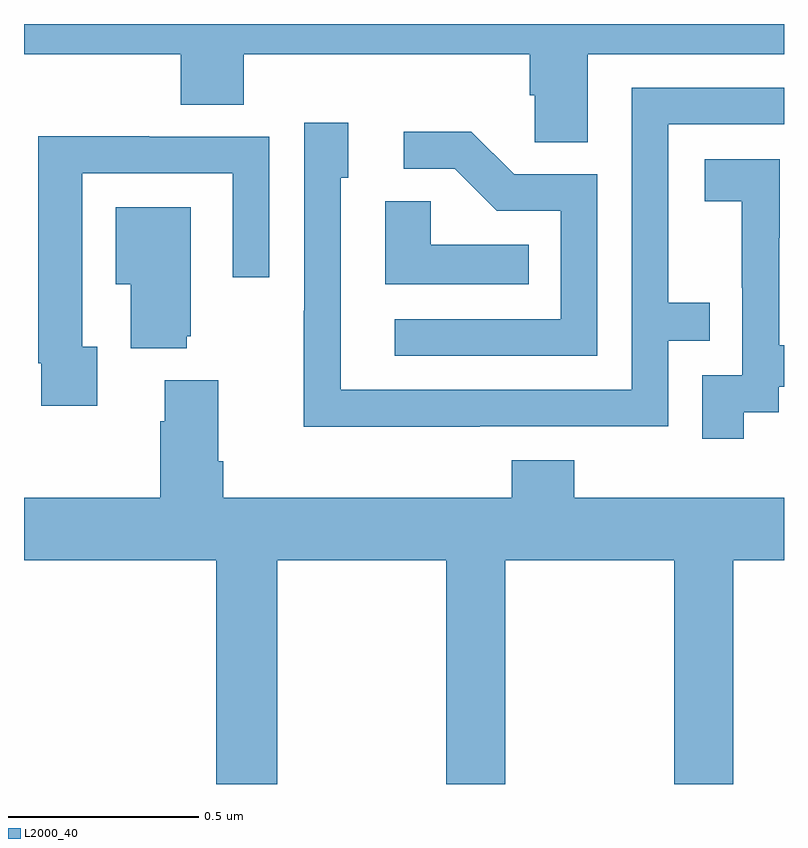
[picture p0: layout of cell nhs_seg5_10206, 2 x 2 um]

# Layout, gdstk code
import gdstk
lib = gdstk.Library(unit=1e-6, precision=1e-09)
def P(c, l, *ps):  # polygons
    for p in ps: c.add(gdstk.Polygon(p, *l))
L2000_40 = (2000, 40)

nhs_seg5_10206 = lib.new_cell('nhs_seg5_10206')
P(nhs_seg5_10206, L2000_40, [(244.483,896.72),(245,896.72),(245,896.799),(243,896.799),(243,896.72),(243.413,896.72),(243.413,896.587),(243.578,896.587),(243.578,896.72),(244.331,896.72),(244.331,896.611),(244.344,896.611),(244.344,896.488),(244.483,896.488)],
  [(244.199,895.74),(244.695,895.74),(244.695,895.965),(244.805,895.965),(244.805,896.066),(244.695,896.066),(244.695,896.535),(245,896.535),(245,896.631),(244.599,896.631),(244.599,895.836),(243.834,895.836),(243.834,896.394),(243.853,896.394),(243.853,896.539),(243.738,896.539),(243.738,896.045),(243.736,896.045),(243.736,895.739),(244.199,895.739)],
  [(244.509,896.403),(244.29,896.403),(244.177,896.516),(243.999,896.516),(243.999,896.418),(244.133,896.418),(244.244,896.307),(244.413,896.307),(244.413,896.022),(243.975,896.022),(243.975,895.926),(244.509,895.926)],
  [(243.193,895.95),(243.153,895.95),(243.153,896.406),(243.549,896.406),(243.549,896.133),(243.645,896.133),(243.645,896.502),(243.329,896.502),(243.329,896.504),(243.037,896.504),(243.037,895.906),(243.045,895.906),(243.045,895.794),(243.193,895.794)],
  [(244.894,895.777),(244.986,895.777),(244.986,895.845),(245,895.845),(245,895.954),(244.988,895.954),(244.988,896.237),(244.989,896.237),(244.989,896.443),(244.791,896.443),(244.791,896.333),(244.889,896.333),(244.889,896.105),(244.89,896.105),(244.89,895.875),(244.785,895.875),(244.785,895.707),(244.894,895.707)],
  [(244.328,896.218),(244.071,896.218),(244.071,896.333),(243.95,896.333),(243.95,896.114),(244.328,896.114)],
  [(243.428,895.977),(243.439,895.977),(243.439,896.317),(243.242,896.317),(243.242,896.114),(243.281,896.114),(243.281,895.946),(243.428,895.946)],
  [(243.666,895.388),(244.111,895.388),(244.111,894.799),(244.266,894.799),(244.266,895.388),(244.711,895.388),(244.711,894.799),(244.866,894.799),(244.866,895.388),(245,895.388),(245,895.552),(244.448,895.552),(244.448,895.651),(244.283,895.651),(244.283,895.552),(243.524,895.552),(243.524,895.648),(243.511,895.648),(243.511,895.861),(243.371,895.861),(243.371,895.754),(243.359,895.754),(243.359,895.552),(243,895.552),(243,895.388),(243.506,895.388),(243.506,894.799),(243.666,894.799)])

lib.write_gds('nhs_seg5_10206.gds')
